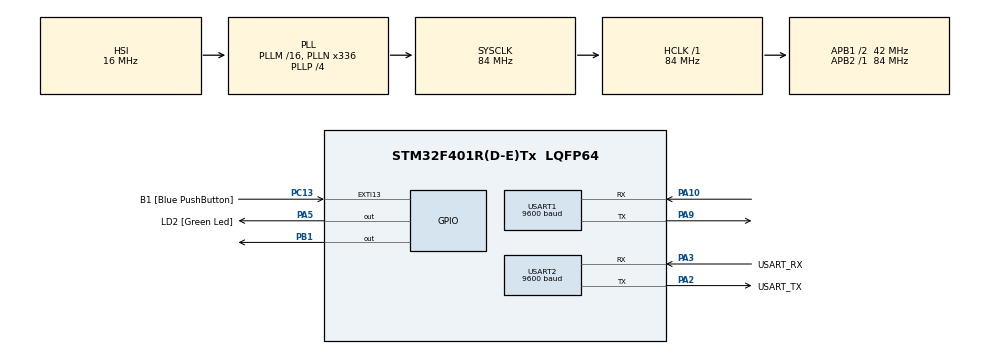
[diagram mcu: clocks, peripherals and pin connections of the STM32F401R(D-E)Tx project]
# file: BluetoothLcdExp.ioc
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Mcu.Family=STM32F4
Mcu.Name=STM32F401R(D-E)Tx
Mcu.Package=LQFP64
NVIC.PriorityGroup=NVIC_PRIORITYGROUP_0
PA10.Mode=Asynchronous
PA10.Signal=USART1_RX
PA13.GPIO_Label=TMS
PA13.Mode=Serial_Wire
PA13.Signal=SYS_JTMS-SWDIO
PA14.GPIO_Label=TCK
PA14.Mode=Serial_Wire
PA14.Signal=SYS_JTCK-SWCLK
PA2.GPIO_Label=USART_TX
PA2.GPIO_Mode=GPIO_MODE_AF_PP
PA2.GPIO_PuPd=GPIO_NOPULL
PA2.GPIO_Speed=GPIO_SPEED_FREQ_LOW
PA2.Mode=Asynchronous
PA2.Signal=USART2_TX
PA3.GPIO_Label=USART_RX
PA3.GPIO_Mode=GPIO_MODE_AF_PP
PA3.GPIO_PuPd=GPIO_NOPULL
PA3.GPIO_Speed=GPIO_SPEED_FREQ_LOW
PA3.Mode=Asynchronous
PA3.Signal=USART2_RX
PA5.GPIO_Label=LD2 [Green Led]
PA5.GPIO_Mode=GPIO_MODE_OUTPUT_PP
PA5.GPIO_PuPd=GPIO_NOPULL
PA5.GPIO_Speed=GPIO_SPEED_FREQ_LOW
PA5.Signal=GPIO_Output
PA9.Mode=Asynchronous
PA9.Signal=USART1_TX
PB1.Signal=GPIO_Output
PB3.GPIO_Label=SWO
PB3.Signal=SYS_JTDO-SWO
PC13-ANTI_TAMP.GPIO_Label=B1 [Blue PushButton]
PC13-ANTI_TAMP.GPIO_ModeDefaultEXTI=GPIO_MODE_IT_FALLING
PC13-ANTI_TAMP.GPIO_PuPd=GPIO_NOPULL
PC13-ANTI_TAMP.Signal=GPXTI13
PC14-OSC32_IN.Mode=LSE-External-Oscillator
PC14-OSC32_IN.Signal=RCC_OSC32_IN
PC15-OSC32_OUT.Mode=LSE-External-Oscillator
PC15-OSC32_OUT.Signal=RCC_OSC32_OUT
PH0\ -\ OSC_IN.Mode=HSE-External-Clock-Source
PH0\ -\ OSC_IN.Signal=RCC_OSC_IN
PH1\ -\ OSC_OUT.Mode=HSE-External-Clock-Source
PH1\ -\ OSC_OUT.Signal=RCC_OSC_OUT
ProjectManager.HeapSize=0x200
ProjectManager.StackSize=0x400
ProjectManager.TargetToolchain=STM32CubeIDE
RCC.48MHZClocksFreq_Value=48000000
RCC.AHBFreq_Value=84000000
RCC.APB1CLKDivider=RCC_HCLK_DIV2
RCC.APB1Freq_Value=42000000
RCC.APB1TimFreq_Value=84000000
RCC.APB2Freq_Value=84000000
RCC.APB2TimFreq_Value=84000000
RCC.CortexFreq_Value=84000000
RCC.HCLKFreq_Value=84000000
RCC.HSE_VALUE=8000000
RCC.HSI_VALUE=16000000
RCC.PLLN=336
RCC.PLLP=RCC_PLLP_DIV4
RCC.PLLQ=7
RCC.SYSCLKFreq_VALUE=84000000
RCC.SYSCLKSource=RCC_SYSCLKSOURCE_PLLCLK
RCC.VCOOutputFreq_Value=336000000
USART1.BaudRate=9600
USART1.VirtualMode=VM_ASYNC
USART2.BaudRate=9600
USART2.VirtualMode=VM_ASYNC
board=NUCLEO-F401RE

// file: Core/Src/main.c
/* USER CODE BEGIN Header */
/**
  ******************************************************************************
  * @file           : main.c
  * @brief          : Main program body
  ******************************************************************************
  * @attention
  *
  * <h2><center>&copy; Copyright (c) 2021 STMicroelectronics.
  * All rights reserved.</center></h2>
  *
  * This software component is licensed by ST under BSD 3-Clause license,
  * the "License"; You may not use this file except in compliance with the
  * License. You may obtain a copy of the License at:
  *                        opensource.org/licenses/BSD-3-Clause
  *
  ******************************************************************************
  */
/* USER CODE END Header */
#include "main.h"

/* USER CODE BEGIN Includes */
#include <stdio.h>
#include <string.h>
#include "../../16x2Lcd/LCD16x2.h"
#include "../../16x2Lcd/LCD16x2.c"
/* USER CODE END Includes */

UART_HandleTypeDef huart1;
UART_HandleTypeDef huart2;

void SystemClock_Config(void);
static void MX_GPIO_Init(void);
static void MX_USART2_UART_Init(void);
static void MX_USART1_UART_Init(void);

/* USER CODE BEGIN 0 */
char rxBuff[]="b";
char* buffOn = "Led On\n";
char* buffOff = "Led Off\n";
/* USER CODE END 0 */

int main(void)
{

  /* MCU Configuration--------------------------------------------------------*/

  /* Reset of all peripherals, Initializes the Flash interface and the Systick. */
  HAL_Init();

  /* Configure the system clock */
  SystemClock_Config();

  /* Initialize all configured peripherals */
  MX_GPIO_Init();
  MX_USART2_UART_Init();
  MX_USART1_UART_Init();
  /* USER CODE BEGIN 2 */
  LCD_Init();
  LCD_Clear();
  /* USER CODE END 2 */

  /* Infinite loop */
  /* USER CODE BEGIN WHILE */
  while (1)
  {
	HAL_UART_Receive (&huart1, (uint8_t*)rxBuff, strlen(rxBuff), 200);

	if(rxBuff[0] == 'a')
	{
	  HAL_UART_Transmit(&huart1, (uint8_t*)buffOn, strlen(buffOn), 50);
	  LCD_Set_Cursor(1, 1);
	  LCD_Write_String("Led On ");
	  HAL_GPIO_WritePin(GPIOB, GPIO_PIN_1, 1);
	}
	else if(rxBuff[0] == 'b')
	{
	  HAL_UART_Transmit(&huart1, (uint8_t*)buffOff, strlen(buffOff), 50);
	  LCD_Set_Cursor(1, 1);
	  LCD_Write_String("Led Off");
	  HAL_GPIO_WritePin(GPIOB, GPIO_PIN_1, 0);
	}
	rxBuff[0] = 'c';
    /* USER CODE END WHILE */

  }
}

void SystemClock_Config(void)
{
  RCC_OscInitTypeDef RCC_OscInitStruct = {0};
  RCC_ClkInitTypeDef RCC_ClkInitStruct = {0};

  /** Configure the main internal regulator output voltage
  */
  __HAL_RCC_PWR_CLK_ENABLE();
  __HAL_PWR_VOLTAGESCALING_CONFIG(PWR_REGULATOR_VOLTAGE_SCALE2);
  /** Initializes the RCC Oscillators according to the specified parameters
  * in the RCC_OscInitTypeDef structure.
  */
  RCC_OscInitStruct.OscillatorType = RCC_OSCILLATORTYPE_HSI;
  RCC_OscInitStruct.HSIState = RCC_HSI_ON;
  RCC_OscInitStruct.HSICalibrationValue = RCC_HSICALIBRATION_DEFAULT;
  RCC_OscInitStruct.PLL.PLLState = RCC_PLL_ON;
  RCC_OscInitStruct.PLL.PLLSource = RCC_PLLSOURCE_HSI;
  RCC_OscInitStruct.PLL.PLLM = 16;
  RCC_OscInitStruct.PLL.PLLN = 336;
  RCC_OscInitStruct.PLL.PLLP = RCC_PLLP_DIV4;
  RCC_OscInitStruct.PLL.PLLQ = 7;
  if (HAL_RCC_OscConfig(&RCC_OscInitStruct) != HAL_OK)
  {
    Error_Handler();
  }
  /** Initializes the CPU, AHB and APB buses clocks
  */
  RCC_ClkInitStruct.ClockType = RCC_CLOCKTYPE_HCLK|RCC_CLOCKTYPE_SYSCLK
                              |RCC_CLOCKTYPE_PCLK1|RCC_CLOCKTYPE_PCLK2;
  RCC_ClkInitStruct.SYSCLKSource = RCC_SYSCLKSOURCE_PLLCLK;
  RCC_ClkInitStruct.AHBCLKDivider = RCC_SYSCLK_DIV1;
  RCC_ClkInitStruct.APB1CLKDivider = RCC_HCLK_DIV2;
  RCC_ClkInitStruct.APB2CLKDivider = RCC_HCLK_DIV1;

  if (HAL_RCC_ClockConfig(&RCC_ClkInitStruct, FLASH_LATENCY_2) != HAL_OK)
  {
    Error_Handler();
  }
}

static void MX_USART1_UART_Init(void)
{

  huart1.Instance = USART1;
  huart1.Init.BaudRate = 9600;
  huart1.Init.WordLength = UART_WORDLENGTH_8B;
  huart1.Init.StopBits = UART_STOPBITS_1;
  huart1.Init.Parity = UART_PARITY_NONE;
  huart1.Init.Mode = UART_MODE_TX_RX;
  huart1.Init.HwFlowCtl = UART_HWCONTROL_NONE;
  huart1.Init.OverSampling = UART_OVERSAMPLING_16;
  if (HAL_UART_Init(&huart1) != HAL_OK)
  {
    Error_Handler();
  }

}

static void MX_USART2_UART_Init(void)
{

  huart2.Instance = USART2;
  huart2.Init.BaudRate = 9600;
  huart2.Init.WordLength = UART_WORDLENGTH_8B;
  huart2.Init.StopBits = UART_STOPBITS_1;
  huart2.Init.Parity = UART_PARITY_NONE;
  huart2.Init.Mode = UART_MODE_TX_RX;
  huart2.Init.HwFlowCtl = UART_HWCONTROL_NONE;
  huart2.Init.OverSampling = UART_OVERSAMPLING_16;
  if (HAL_UART_Init(&huart2) != HAL_OK)
  {
    Error_Handler();
  }

}

static void MX_GPIO_Init(void)
{
  GPIO_InitTypeDef GPIO_InitStruct = {0};

  /* GPIO Ports Clock Enable */
  __HAL_RCC_GPIOC_CLK_ENABLE();
  __HAL_RCC_GPIOH_CLK_ENABLE();
  __HAL_RCC_GPIOA_CLK_ENABLE();
  __HAL_RCC_GPIOB_CLK_ENABLE();

  /*Configure GPIO pin Output Level */
  HAL_GPIO_WritePin(LD2_GPIO_Port, LD2_Pin, GPIO_PIN_RESET);

  /*Configure GPIO pin Output Level */
  HAL_GPIO_WritePin(GPIOB, GPIO_PIN_1, GPIO_PIN_RESET);

  /*Configure GPIO pin : B1_Pin */
  GPIO_InitStruct.Pin = B1_Pin;
  GPIO_InitStruct.Mode = GPIO_MODE_IT_FALLING;
  GPIO_InitStruct.Pull = GPIO_NOPULL;
  HAL_GPIO_Init(B1_GPIO_Port, &GPIO_InitStruct);

  /*Configure GPIO pin : LD2_Pin */
  GPIO_InitStruct.Pin = LD2_Pin;
  GPIO_InitStruct.Mode = GPIO_MODE_OUTPUT_PP;
  GPIO_InitStruct.Pull = GPIO_NOPULL;
  GPIO_InitStruct.Speed = GPIO_SPEED_FREQ_LOW;
  HAL_GPIO_Init(LD2_GPIO_Port, &GPIO_InitStruct);

  /*Configure GPIO pin : PB1 */
  GPIO_InitStruct.Pin = GPIO_PIN_1;
  GPIO_InitStruct.Mode = GPIO_MODE_OUTPUT_PP;
  GPIO_InitStruct.Pull = GPIO_NOPULL;
  GPIO_InitStruct.Speed = GPIO_SPEED_FREQ_LOW;
  HAL_GPIO_Init(GPIOB, &GPIO_InitStruct);

}

void Error_Handler(void)
{
  __disable_irq();
  while (1)
  {
  }
}

/************************ (C) COPYRIGHT STMicroelectronics *****END OF FILE****/
